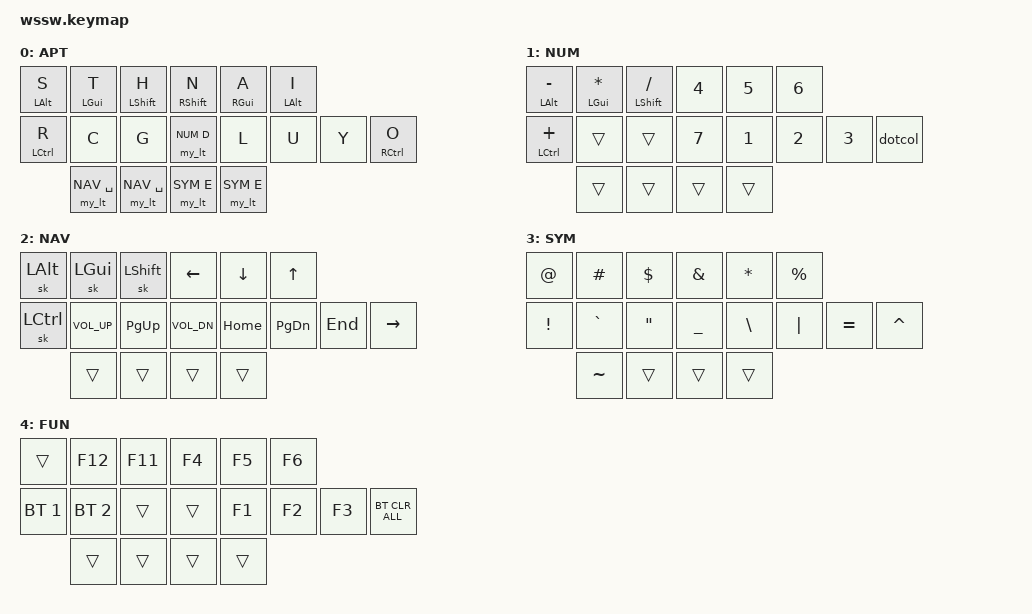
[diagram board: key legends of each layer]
/*
 * Copyright (c) 2020 The ZMK Contributors
 *
 * SPDX-License-Identifier: MIT
 */

#include <behaviors.dtsi>
#include <dt-bindings/zmk/keys.h>
#include <dt-bindings/zmk/bt.h>
#include <dt-bindings/zmk/mouse.h>

#define APT 0
#define NUM 1
#define NAV 2
#define SYM 3
#define FUN 4

&caps_word {
    continue-list = <UNDERSCORE MINUS BSPC LSHFT RSHFT>;
};

/ {
    macros {
        // promising candidate, only problem: impossible to hold shift through
        // the activation and still have it registered as held afterwards
        macro_shiftable_sch: macro_shiftable_sch {
            label = "Macro_shiftable_sch";
            compatible = "zmk,behavior-macro";
            #binding-cells = <0>;
            bindings = <
                &macro_tap &kp Q
                &macro_release &kp RSHIFT
                &macro_tap &kp U
            >;
            tap-ms = <10>;
        };
    };
};

#define LAYER_COMBO(NAME, BINDINGS, KEYPOS, LAYERS) \
combo_##NAME { \
    timeout-ms = <20>; \
    bindings = <BINDINGS>; \
    key-positions = <KEYPOS>; \
    layers = <LAYERS>; \
};

#define COMBO(NAME, BINDINGS, KEYPOS) \
combo_##NAME { \
    timeout-ms = <20>; \
    bindings = <BINDINGS>; \
    key-positions = <KEYPOS>; \
    layers = <0>; \
};

#define SLOWCOMBO(NAME, BINDINGS, KEYPOS) \
combo_##NAME { \
    timeout-ms = <40>; \
    bindings = <BINDINGS>; \
    key-positions = <KEYPOS>; \
    layers = <0>; \
};

#define TCOMBO(NAME, BINDINGS, KEYPOS, TIMEOUT) \
combo_##NAME { \
    timeout-ms = <TIMEOUT>; \
    bindings = <BINDINGS>; \
    key-positions = <KEYPOS>; \
    layers = <0>; \
};

#define COMBOS_TOP_ROW(LTPR, LTRM, LTMI, MTII, RTIM, RTMR, RTRP) \
    SLOWCOMBO(_ltpr, LTPR, 6 0) \
    COMBO(_ltrm, LTRM, 0 1) \
    COMBO(_ltmi, LTMI, 1 2) \
    SLOWCOMBO(_mtii, MTII, 2 3) \
    COMBO(_rtim, RTIM, 3 4) \
    COMBO(_rtmr, RTMR, 4 5) \
    SLOWCOMBO(_rtrp, RTRP, 5 13)

#define COMBOS_BOT_ROW(LBRM, LBMI, MBII, RBIM, RBMR) \
    COMBO(_lbrm, LBRM, 7 8) \
    COMBO(_lbmi, LBMI, 8 9) \
    SLOWCOMBO(_mbii, MBII, 9 10) \
    COMBO(_rbim, RBIM, 10 11) \
    COMBO(_rbmr, RBMR, 11 12)

//          00  01  02          03  04  05
//      06  07  08  09          10  11  12  13
//                  14  15  16  17

/ {
    combos {
        compatible = "zmk,combos";

        /* alphas */
        COMBOS_TOP_ROW(&kp W, &kp M, &kp B, &kp K, &kp V, &comsem, &dotcol)
        COMBOS_BOT_ROW(&kp F, &kp P, &kp J, &kp X, &kp Z)

        /* usually on base layer */
        COMBO(q, &kp Q, 7 9)
        COMBO(k, &kp K, 1 9)
        COMBO(j, &kp J, 4 10)
        COMBO(shiftablesch, &macro_shiftable_sch, 0 2)
        COMBO(enter, &kp ENTER, 10 11 12)
        COMBO(esc, &kp ESC, 2 6)
        COMBO(semi, &kp SEMICOLON, 11 17)
        COMBO(colon, &kp COLON, 13 17)
        COMBO(minus, &kp MINUS, 11 12 17)
        COMBO(slash, &kp SLASH, 10 17)
        COMBO(esc2, &kp ESC, 8 9 15)
        COMBO(tab, &kp TAB, 7 8 9)
        COMBO(sqt, &kp SQT, 12 13 17)

        /* parentheticals */
        COMBO(lt, &kp LT, 0 9)
        COMBO(lbrc, &kp LBRC, 0 7)
        COMBO(lbkt, &kp LBKT, 1 8)
        COMBO(lpar, &kp LPAR, 2 9)
        COMBO(rt, &kp GT, 5 10)
        COMBO(rpar, &kp RPAR, 3 10)
        COMBO(rbkt, &kp RBKT, 4 11)
        COMBO(rbrc, &kp RBRC, 5 12)

        /* caps */
        COMBO(caps, &caps_word, 1 4)
        COMBO(capslock, &kp CAPSLOCK, 2 3)

        /* deletion */
        COMBO(bspc, &kp BSPC, 3 5)
        SLOWCOMBO(del, &kp DEL, 4 13)
        COMBO(delword, &kp LC(BSPC), 3 13)

        /* numbers */
        LAYER_COMBO(R7, &kp N7, 10 11, 1)
        LAYER_COMBO(R8, &kp N8, 3 4, 1)
        LAYER_COMBO(R9, &kp N9, 11 12, 1)
        LAYER_COMBO(R0, &kp N0, 4 5, 1)
        LAYER_COMBO(Rplus, &kp PLUS, 4 10, 1)

        /* fun */ 
        LAYER_COMBO(RF7, &kp F7, 10 11, 4)
        LAYER_COMBO(RF8, &kp F8, 3 4, 4)
        LAYER_COMBO(RF9, &kp F9, 11 12, 4)
        LAYER_COMBO(RF10, &kp F10, 4 5, 4)
    };
};

//          00  01  02          03  04  05
//      06  07  08  09          10  11  12  13
//                  14  15  16  17

/ {
    behaviors {
        hl: homerow_mods_left {
            compatible = "zmk,behavior-hold-tap";
            label = "homerow mods left";
            #binding-cells = <2>;
            flavor = "balanced";
            tapping-term-ms = <150>;
            quick-tap-ms = <100>;
            bindings = <&kp &kp>;
            hold-trigger-key-positions = <3 4 5 10 11 12 13 16 17>;
        };

        hr: homerow_mods_right {
            compatible = "zmk,behavior-hold-tap";
            label = "homerow mods right";
            #binding-cells = <2>;
            flavor = "balanced";
            tapping-term-ms = <150>;
            quick-tap-ms = <100>;
            bindings = <&kp &kp>;
            hold-trigger-key-positions = <0 1 2 6 7 8 9 14 15>;
        };

        my_lt: my_layer_taps {
            compatible = "zmk,behavior-hold-tap";
            label = "my layer taps";
            #binding-cells = <2>;
            flavor = "tap-preferred";
            tapping-term-ms = <160>;
            quick-tap-ms = <100>;
            bindings = <&mo &kp>, <&kp>;
        };

        dotcol: dot_colon {
            compatible = "zmk,behavior-mod-morph";
            label = "DOT_COL";
            #binding-cells = <0>;
            bindings = <&kp DOT &kp COLON>;
            mods = <(MOD_LSFT | MOD_RSFT)>;
        };

        comsem: comma_semicolon {
            compatible = "zmk,behavior-mod-morph";
            label = "COM_SEM";
            #binding-cells = <0>;
            bindings = <&kp COMMA &kp SEMI>;
            mods = <(MOD_LSFT | MOD_RSFT)>;
        };
    };
};
/ {
  conditional_layers {
      compatible = "zmk,conditional-layers";
  
      fun {
          if-layers = <2 3>;
          then-layer = <4>;
      };
  };
};

/ {
    keymap {
        compatible = "zmk,keymap";

        aptmak {
            label = "APT";

            bindings = <
                &hl LALT S     &hl LGUI T     &hl LSHFT H      &hr RSHFT N    &hr RGUI A     &hr LALT I
                &hl LCTRL R    &kp C          &kp G            &my_lt NUM D          &kp L          &kp U          &kp Y          &hr RCTRL O
                                &my_lt NAV SPACE  &my_lt NAV SPACE  &my_lt SYM E  &my_lt SYM E
            >;
        };

        numbers {
            label = "NUM";

            bindings = <
                &hl LALT MINUS &hl LGUI STAR  &hl LSHFT SLASH  &kp N4         &kp N5         &kp N6
                &hl LCTRL PLUS &trans         &trans          &kp N7         &kp N1         &kp N2         &kp N3         &dotcol
                                &trans         &trans           &trans         &trans
            >;
        };

        navigation {
            label = "NAV";

            bindings = <
                &sk LALT       &sk LGUI       &sk LSHFT        &kp LEFT       &kp DOWN       &kp UP
                &sk LCTRL      &kp C_VOL_UP   &kp PG_UP        &kp C_VOL_DN   &kp HOME       &kp PG_DN      &kp END        &kp RIGHT
                                &trans         &trans           &trans       &trans
            >;
        };

        symbols {
            label = "SYM";

            bindings = <
                &kp AT         &kp HASH       &kp DOLLAR       &kp AMPERSAND  &kp ASTERISK   &kp PERCENT
                &kp EXCL       &kp GRAVE      &kp DQT          &kp UNDERSCORE &kp BACKSLASH  &kp PIPE       &kp EQUAL      &kp CARET
                                &kp TILDE      &trans           &trans         &trans
            >;
        };

        function {
            label = "FUN";

            bindings = <
                &trans         &kp F12          &kp F11        &kp F4         &kp F5         &kp F6
                &bt BT_SEL 1    &bt BT_SEL 2         &trans           &trans         &kp F1         &kp F2         &kp F3         &bt BT_CLR_ALL
                                &trans         &trans           &trans         &trans
            >;
        };
    };
};

